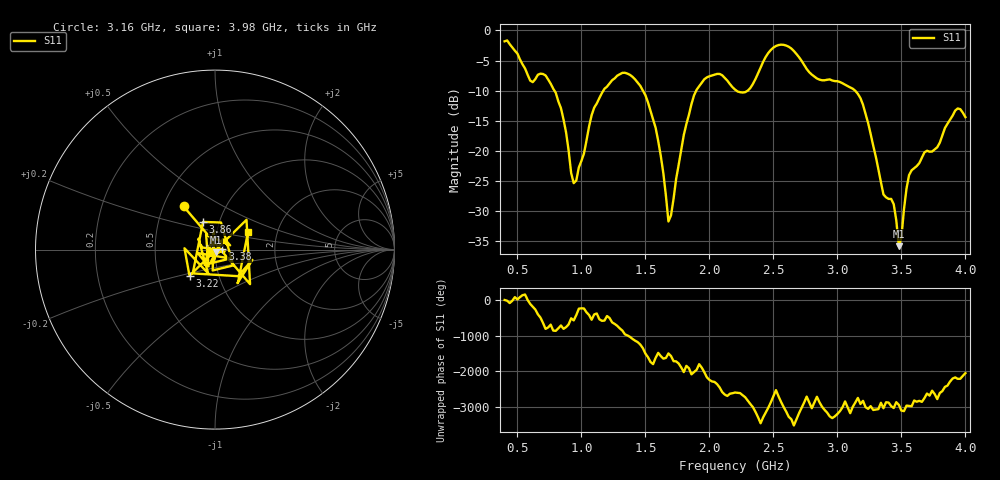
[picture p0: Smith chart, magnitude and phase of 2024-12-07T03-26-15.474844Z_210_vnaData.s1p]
!Created with skrf (http://scikit-rf.org).
# Hz S RI R 50.0
!freq ReS11 ImS11
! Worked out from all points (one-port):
!   181 points, 400 MHz to 4 GHz, reference 50 ohm
!   lowest |S11| = -35.8 dB at 3.48 GHz (marker M1), VSWR 1.03, Z = 50.5 - j1.54 ohm
!   |S11| at or under -10 dB: 789.3 MHz to 1.171 GHz (382 MHz wide, 39 % of centre); 1.481 GHz to 1.897 GHz (415.9 MHz wide, 24.6 % of centre); 3.138 GHz to end of sweep (the widest 3 of 4)
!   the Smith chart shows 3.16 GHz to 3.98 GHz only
!   S11 on the Smith chart (normalised r, x): 3.16 GHz: 0.63, +0.33; 3.22 GHz: 0.72, -0.22; 3.38 GHz: 1.09, +0.01; 3.86 GHz: 0.84, +0.27; 3.98 GHz: 1.42, +0.29
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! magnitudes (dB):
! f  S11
! 400 MHz  -1.8
! 600 MHz  -8.3
! 720 MHz  -7.5
! 860 MHz  -14.8
! 940 MHz  -25.4
! 1.1 GHz  -12.8
! 1.3 GHz  -7.3
! 1.52 GHz  -11.9
! 1.62 GHz  -20.8
! 1.68 GHz  -31.7
! 1.76 GHz  -22.3
! 1.88 GHz  -10.8
! 1.96 GHz  -8.1
! 2.2 GHz  -9.8
! 2.32 GHz  -9.6
! 2.5 GHz  -2.8
! 2.66 GHz  -3.4
! 2.84 GHz  -8.0
! 3.1 GHz  -9.4
! 3.16 GHz  -10.5
! 3.22 GHz  -13.8
! 3.38 GHz  -27.7
! 3.44 GHz  -28.8
! 3.48 GHz  -35.8
! 3.56 GHz  -24.0
! 3.86 GHz  -15.5
! 3.98 GHz  -13.7
! 4 GHz  -14.4
